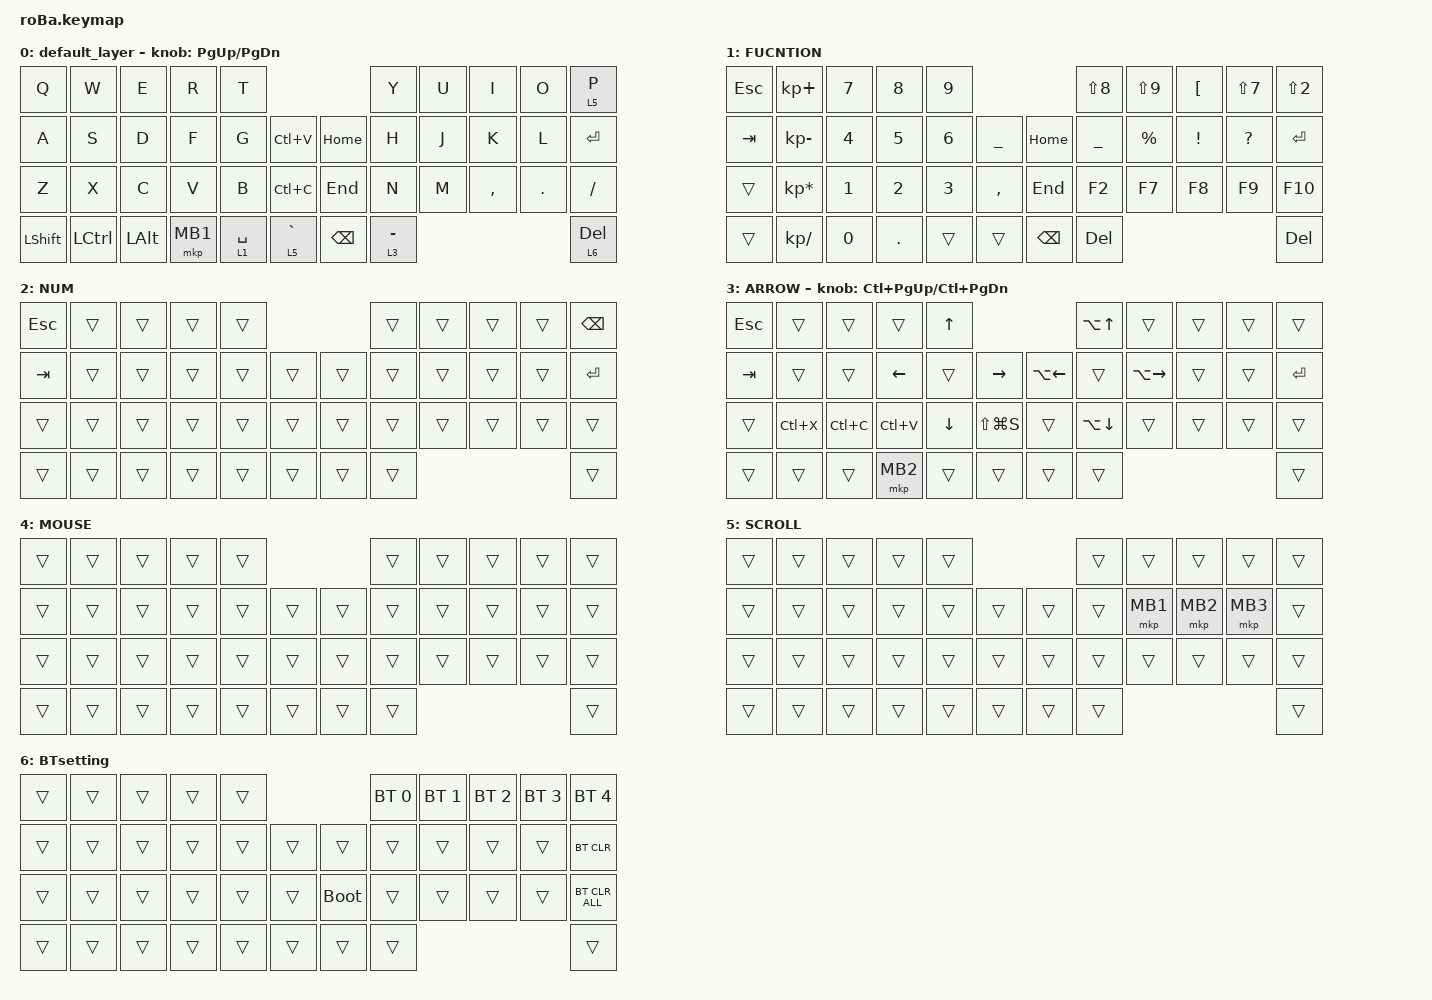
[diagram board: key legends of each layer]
#include <behaviors.dtsi>
#include <dt-bindings/zmk/bt.h>
#include <dt-bindings/zmk/keys.h>
#include <dt-bindings/zmk/pointing.h>

#define MOUSE 4
#define SCROLL 5
#define NUM 6

&mt {
    flavor = "balanced";
    quick-tap-ms = <0>;
};

/ {
    combos {
        compatible = "zmk,combos";

        tab {
            bindings = <&kp TAB>;
            key-positions = <11 12>;
        };

        shift_tab {
            bindings = <&kp LS(TAB)>;
            key-positions = <12 13>;
        };

        muhennkann {
            bindings = <&to_layer_0 INT_MUHENKAN>;
            key-positions = <11 10>;
        };

        double_quotation {
            bindings = <&kp DOUBLE_QUOTES>;
            key-positions = <20 21>;
        };

        eq {
            bindings = <&kp EQUAL>;
            key-positions = <24 25>;
        };
    };

    macros {
        to_layer_0: to_layer_0 {
            compatible = "zmk,behavior-macro-one-param";
            #binding-cells = <1>;
            bindings = <&to 0 &macro_param_1to1 &kp MACRO_PLACEHOLDER>;
            label = "TO_LAYER_0";
        };
    };

    behaviors {
        lt_to_layer_0: lt_to_layer_0 {
            compatible = "zmk,behavior-hold-tap";
            label = "LAYER_TAP_TO_0";
            bindings = <&mo>, <&to_layer_0>;

            #binding-cells = <2>;
            tapping-term-ms = <200>;
        };
    };

    keymap {
        compatible = "zmk,keymap";

        default_layer {
            bindings = <
&kp Q           &kp W             &kp E         &kp R     &kp T                                        &kp Y        &kp U  &kp I      &kp O    &lt 5 P
&kp A           &kp S             &kp D         &kp F     &kp G        &kp LC(V)        &kp HOME       &kp H        &kp J  &kp K      &kp L    &kp ENTER
&kp Z           &kp X             &kp C         &kp V     &kp B        &kp LC(C)        &kp END        &kp N        &kp M  &kp COMMA  &kp DOT  &kp SLASH
&kp LEFT_SHIFT  &kp LEFT_CONTROL  &kp LEFT_ALT  &mkp MB1  &lt 1 SPACE  &lt 5 GRAVE      &kp BACKSPACE  &lt 3 MINUS                             &lt 6 DEL
            >;

            sensor-bindings = <&inc_dec_kp PAGE_UP PAGE_DOWN>;
        };

        FUCNTION {
            bindings = <
&kp ESCAPE  &kp KP_PLUS      &kp NUMBER_7  &kp NUMBER_8  &kp NUMBER_9                                     &kp LS(N8)  &kp LS(N9)  &kp LEFT_BRACKET  &kp LS(N7)  &kp LS(NUMBER_2)
&kp TAB     &kp KP_MINUS     &kp NUMBER_4  &kp NUMBER_5  &kp NUMBER_6  &kp UNDERSCORE      &kp HOME       &kp UNDER   &kp PRCNT   &kp EXCL          &kp QMARK   &kp ENTER
&trans      &kp KP_ASTERISK  &kp NUMBER_1  &kp NUMBER_2  &kp NUMBER_3  &kp COMMA           &kp END        &kp F2      &kp F7      &kp F8            &kp F9      &kp F10
&trans      &kp KP_SLASH     &kp N0        &kp PERIOD    &trans        &trans              &kp BACKSPACE  &kp DELETE                                            &kp DELETE
            >;
        };

        NUM {
            bindings = <
&kp ESCAPE  &trans  &trans  &trans  &trans                      &trans  &trans  &trans  &trans  &kp BACKSPACE
&kp TAB     &trans  &trans  &trans  &trans  &trans      &trans  &trans  &trans  &trans  &trans  &kp ENTER
&trans      &trans  &trans  &trans  &trans  &trans      &trans  &trans  &trans  &trans  &trans  &trans
&trans      &trans  &trans  &trans  &trans  &trans      &trans  &trans                          &trans
            >;
        };

        ARROW {
            bindings = <
&kp ESC  &trans     &trans     &trans          &kp UP_ARROW                                             &kp LA(UP_ARROW)    &trans               &trans  &trans  &trans
&kp TAB  &trans     &trans     &kp LEFT_ARROW  &trans          &kp RIGHT_ARROW      &kp LA(LEFT_ARROW)  &trans              &kp LA(RIGHT_ARROW)  &trans  &trans  &kp ENTER
&trans   &kp LC(X)  &kp LC(C)  &kp LC(V)       &kp DOWN_ARROW  &kp LS(LG(S))        &trans              &kp LA(DOWN_ARROW)  &trans               &trans  &trans  &trans
&trans   &trans     &trans     &mkp MB2        &trans          &trans               &trans              &trans                                                   &trans
            >;

            sensor-bindings = <&inc_dec_kp LC(PAGE_UP) LC(PAGE_DOWN)>;
        };

        MOUSE {
            bindings = <
&trans  &trans  &trans  &trans  &trans                      &trans  &trans  &trans  &trans  &trans
&trans  &trans  &trans  &trans  &trans  &trans      &trans  &trans  &trans  &trans  &trans  &trans
&trans  &trans  &trans  &trans  &trans  &trans      &trans  &trans  &trans  &trans  &trans  &trans
&trans  &trans  &trans  &trans  &trans  &trans      &trans  &trans                          &trans
            >;
        };

        SCROLL {
            bindings = <
&trans  &trans  &trans  &trans  &trans                      &trans  &trans    &trans    &trans    &trans
&trans  &trans  &trans  &trans  &trans  &trans      &trans  &trans  &mkp MB1  &mkp MB2  &mkp MB3  &trans
&trans  &trans  &trans  &trans  &trans  &trans      &trans  &trans  &trans    &trans    &trans    &trans
&trans  &trans  &trans  &trans  &trans  &trans      &trans  &trans                                &trans
            >;
        };

        BTsetting {
            bindings = <
&trans  &trans  &trans  &trans  &trans                           &bt BT_SEL 0  &bt BT_SEL 1  &bt BT_SEL 2  &bt BT_SEL 3  &bt BT_SEL 4
&trans  &trans  &trans  &trans  &trans  &trans      &trans       &trans        &trans        &trans        &trans        &bt BT_CLR
&trans  &trans  &trans  &trans  &trans  &trans      &bootloader  &trans        &trans        &trans        &trans        &bt BT_CLR_ALL
&trans  &trans  &trans  &trans  &trans  &trans      &trans       &trans                                                  &trans
            >;
        };
    };
};
